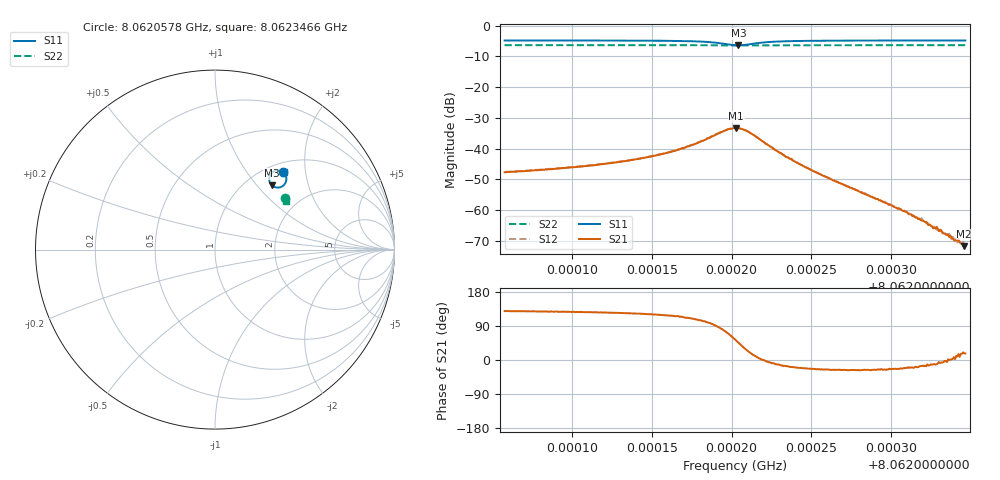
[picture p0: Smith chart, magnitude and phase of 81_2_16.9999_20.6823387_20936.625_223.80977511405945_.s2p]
#  HZ  S  RI  R  50.00
! Rohde & Schwarz Vector Network Analyzer
! Rohde-Schwarz,ZNB20-2Port,1311601062101988,3.16
! Created: UTC 3/20/2024, 10:55:44 PM
! freq[Hz]  re:S11  im:S11  re:S21  im:S21  re:S12  im:S12  re:S22  im:S22
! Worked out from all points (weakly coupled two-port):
!   401 points, 8.0620578 GHz to 8.0623466 GHz, reference 50 ohm
!   highest |S21| = -33.35 dB at 8.0622029 GHz (marker M1); lowest = -71.7 dB at 8.0623458 GHz (marker M2)
!   lowest |S11| = -6.4 dB at 8.0622044 GHz (marker M3), VSWR 2.83, Z = 64.9 + j60.2 ohm
!   |S11| at or under -10 dB: nowhere
!   |S22| runs from -6.4 to -6.3 dB; largest |S21 - S12| = 0.0016
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8.06205781e9  0.3807 0.4314  -0.00258 0.00318  -0.00242 0.00338  0.3879 0.2868
8.06210618e9  0.3863 0.4253  -0.00304 0.0041  -0.00281 0.00435  0.3895 0.2842
8.06213577e9  0.3909 0.4187  -0.0035 0.00534  -0.00324 0.0056  0.3906 0.2825
8.06215454e9  0.3945 0.411  -0.00387 0.00689  -0.00349 0.0072  0.3911 0.2813
8.06217187e9  0.3977 0.3969  -0.004 0.00991  -0.0034 0.0102  0.3915 0.2798
8.06218703e9  0.3916 0.3699  -0.00169 0.0153  -0.000614 0.0156  0.3915 0.278
8.06219713e9  0.3594 0.3464  0.00613 0.0193  0.00753 0.019  0.3899 0.2771
8.06220218e9  0.329 0.3501  0.0125 0.0173  0.014 0.0167  0.3888 0.2775
8.06220291e9  0.325 0.3524  0.0135 0.0168  0.0147 0.016  0.3889 0.2776
8.06220435e9  0.3171 0.358  0.0149 0.0152  0.0161 0.0144  0.3886 0.278
8.06221013e9  0.3018 0.3907  0.0173 0.00776  0.0178 0.00666  0.3888 0.2793
8.06222095e9  0.3196 0.4309  0.0123 -0.00033  0.0124 -0.00129  0.3905 0.2803
8.06223467e9  0.3437 0.441  0.00696 -0.00201  0.00692 -0.00247  0.3919 0.2796
8.06225055e9  0.3583 0.4408  0.00402 -0.00175  0.00393 -0.002  0.3931 0.2786
8.06229892e9  0.3749 0.4347  0.00113 -0.000478  0.0011 -0.000579  0.3952 0.276
8.0623083e9  0.3766 0.4338  0.000897 -0.000345  0.00088 -0.000437  0.3955 0.2755
8.06231985e9  0.3783 0.4326  0.000651 -0.000173  0.000646 -0.000208  0.3959 0.2749
8.06232779e9  0.3794 0.432  0.000491 -0.000106  0.000484 -0.000123  0.3962 0.2744
8.06233501e9  0.3803 0.4313  0.000389 -3.64e-05  0.0004 -3.58e-05  0.3965 0.2742
8.06234295e9  0.3814 0.4306  0.000293 4.33e-05  0.000292 7.72e-05  0.3967 0.2736
8.06234584e9  0.3818 0.4305  0.000247 7.79e-05  0.000246 7.38e-05  0.3969 0.2735
8.06234656e9  0.3818 0.4304  0.000259 8.07e-05  0.000269 7.69e-05  0.3968 0.2735
